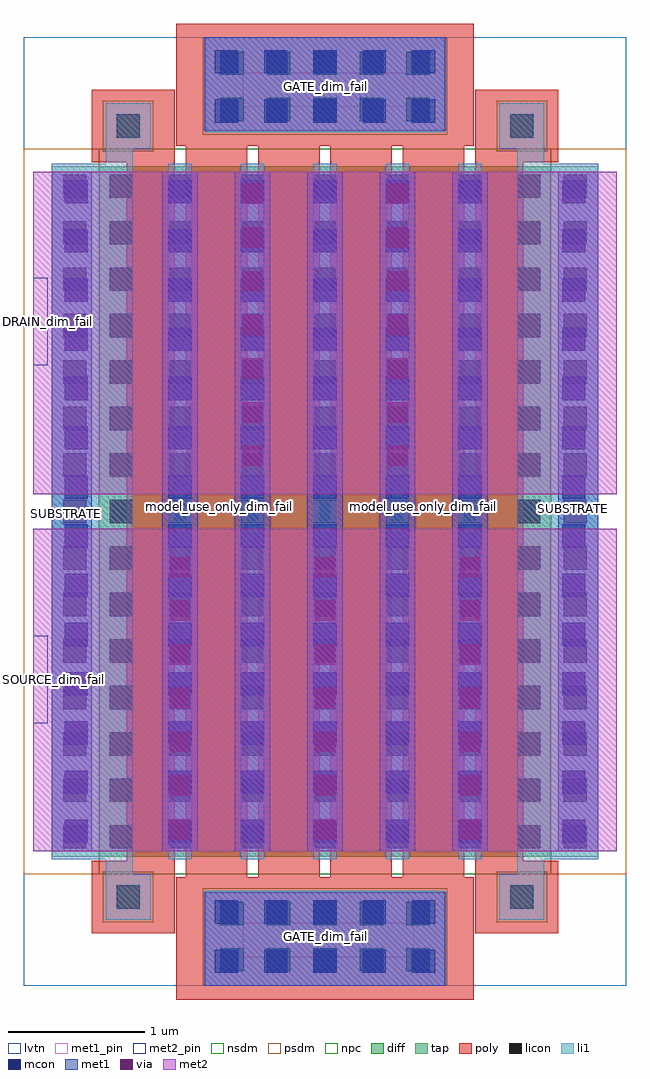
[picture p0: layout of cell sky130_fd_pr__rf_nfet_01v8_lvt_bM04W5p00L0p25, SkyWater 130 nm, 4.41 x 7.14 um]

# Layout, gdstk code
import gdstk
lib = gdstk.Library(unit=1e-6, precision=1e-09)
def R(c, l, rs):  # rectangles x0, y0, x1, y1
    for r in rs: c.add(gdstk.rectangle(r[:2], r[2:], *l))
def A(c, l, x, y, w, h, nx, ny, dx, dy):  # array of equal rectangles
    R(c, l, [(x+i*dx, y+j*dy, x+i*dx+w, y+j*dy+h) for i in range(nx) for j in range(ny)])
def P(c, l, *ps):  # polygons
    for p in ps: c.add(gdstk.Polygon(p, *l))
diff = (65, 20)
tap = (65, 44)
poly = (66, 20)
licon = (66, 44)
li1 = (67, 20)
mcon = (67, 44)
met1_pin = (68, 16)
met1 = (68, 20)
via = (68, 44)
met2_pin = (69, 16)
met2 = (69, 20)
nsdm = (93, 44)
psdm = (94, 20)
npc = (95, 20)
lvtn = (125, 44)

sky130_fd_pr__rf_nfet_01 = lib.new_cell('sky130_fd_pr__rf_nfet_01v8_lvt_bM04W5p00L0p25')
R(sky130_fd_pr__rf_nfet_01, diff, [(0.555,0.945,3.855,5.995)])
R(sky130_fd_pr__rf_nfet_01, tap, [(0.205,0.945,0.555,5.995), (3.855,0.945,4.205,5.995)])
P(sky130_fd_pr__rf_nfet_01, poly, [(0.5,0.385),(0.5,0.915),(0.755,0.915),(0.755,6.025),(0.5,6.025),(0.5,6.555),(1.105,6.555),(1.105,0.385)],
  [(3.305,0.385),(3.305,6.555),(3.91,6.555),(3.91,6.025),(3.655,6.025),(3.655,0.915),(3.91,0.915),(3.91,0.385)],
  [(1.115,-0.1),(1.115,0.795),(1.185,0.795),(1.185,6.145),(1.635,6.145),(1.635,0.795),(1.715,0.795),(1.715,6.145),(2.165,6.145),(2.165,0.795),(2.245,0.795),(2.245,6.145),(2.695,6.145),(2.695,0.795),(2.775,0.795),(2.775,6.145),(1.115,6.145),(1.115,7.04),(3.295,7.04),(3.295,6.145),(3.225,6.145),(3.225,0.795),(3.295,0.795),(3.295,-0.1)])
A(sky130_fd_pr__rf_nfet_01, licon, 1.44, 0.105, 0.17, 0.17, 5, 2, 0.34, 0.34)
A(sky130_fd_pr__rf_nfet_01, licon, 0.29, 1.005, 0.17, 0.17, 1, 15, 0, 0.34)
A(sky130_fd_pr__rf_nfet_01, licon, 0.63, 1.005, 0.17, 0.17, 1, 15, 0, 0.34)
A(sky130_fd_pr__rf_nfet_01, licon, 1.06, 1.005, 0.17, 0.17, 5, 15, 0.53, 0.34)
A(sky130_fd_pr__rf_nfet_01, licon, 3.61, 1.005, 0.17, 0.17, 1, 15, 0, 0.34)
A(sky130_fd_pr__rf_nfet_01, licon, 3.95, 1.005, 0.17, 0.17, 1, 15, 0, 0.34)
A(sky130_fd_pr__rf_nfet_01, licon, 1.44, 6.325, 0.17, 0.17, 5, 2, 0.34, 0.34)
R(sky130_fd_pr__rf_nfet_01, licon, [(0.68,0.565,0.85,0.735), (3.56,0.565,3.73,0.735), (0.68,6.205,0.85,6.375), (3.56,6.205,3.73,6.375)])
A(sky130_fd_pr__rf_nfet_01, li1, 1.06, 0.925, 0.17, 5.09, 5, 1, 0.53, 0)
A(sky130_fd_pr__rf_nfet_01, li1, 1.06, 2.125, 0.17, 2.69, 5, 1, 0.53, 0)
R(sky130_fd_pr__rf_nfet_01, li1, [(1.33,0,3.08,0.695), (0.6,0.485,0.93,0.815), (3.48,0.485,3.81,0.815), (0.6,0.815,0.8,0.925), (3.61,0.815,3.81,0.925), (0.205,0.925,0.8,6.015), (3.61,0.925,4.205,6.015), (0.32,1.045,0.49,5.895), (3.92,1.045,4.09,5.895), (0.6,6.015,0.8,6.125), (3.61,6.015,3.81,6.125), (0.6,6.125,0.93,6.455), (3.48,6.125,3.81,6.455), (1.33,6.245,3.08,6.94)])
A(sky130_fd_pr__rf_nfet_01, mcon, 1.4, 0.095, 0.17, 0.17, 5, 2, 0.36, 0.36)
A(sky130_fd_pr__rf_nfet_01, mcon, 0.3, 1.045, 0.17, 0.17, 1, 14, 0, 0.36)
A(sky130_fd_pr__rf_nfet_01, mcon, 1.06, 1.045, 0.17, 0.17, 5, 14, 0.53, 0.36)
A(sky130_fd_pr__rf_nfet_01, mcon, 3.94, 1.045, 0.17, 0.17, 1, 14, 0, 0.36)
A(sky130_fd_pr__rf_nfet_01, mcon, 1.4, 6.315, 0.17, 0.17, 5, 2, 0.36, 0.36)
R(sky130_fd_pr__rf_nfet_01, met1_pin, [(1.605,0.21,2.855,0.46), (0.205,3.375,0.5,3.525), (3.91,3.415,4.205,3.565), (1.605,6.43,2.855,6.68)])
A(sky130_fd_pr__rf_nfet_01, met1, 1.015, 0.985, 0.26, 2.24, 3, 1, 1.06, 0)
A(sky130_fd_pr__rf_nfet_01, met1, 1.015, 0.985, 0.26, 4.97, 5, 1, 0.53, 0)
R(sky130_fd_pr__rf_nfet_01, met1, [(1.32,0,3.09,0.685), (0.205,0.985,0.5,5.955), (3.91,0.985,4.205,5.955), (1.545,3.715,1.805,5.955), (2.605,3.715,2.865,5.955), (1.32,6.255,3.09,6.94)])
A(sky130_fd_pr__rf_nfet_01, via, 1.07, 1.07, 0.15, 0.15, 3, 7, 1.06, 0.32)
A(sky130_fd_pr__rf_nfet_01, via, 1.6, 3.8, 0.15, 0.15, 1, 7, 0, 0.32)
A(sky130_fd_pr__rf_nfet_01, via, 2.66, 3.8, 0.15, 0.15, 1, 7, 0, 0.32)
R(sky130_fd_pr__rf_nfet_01, met2_pin, [(0.07,1.92,0.175,2.56), (0.07,4.54,0.175,5.18)])
A(sky130_fd_pr__rf_nfet_01, met2, 1.015, 0.985, 0.26, 2.24, 3, 1, 1.06, 0)
R(sky130_fd_pr__rf_nfet_01, met2, [(0.07,0.985,4.34,3.345), (0.07,3.595,4.34,5.955), (1.545,3.715,1.805,5.955), (2.605,3.715,2.865,5.955)])
R(sky130_fd_pr__rf_nfet_01, nsdm, [(0.555,0.815,3.855,6.125)])
R(sky130_fd_pr__rf_nfet_01, psdm, [(0,0.815,0.555,6.125), (3.855,0.815,4.41,6.125)])
R(sky130_fd_pr__rf_nfet_01, npc, [(1.31,0,3.1,0.715), (0.58,0.465,0.95,0.835), (3.46,0.465,3.83,0.835), (0.58,6.105,0.95,6.475), (3.46,6.105,3.83,6.475), (1.31,6.225,3.1,6.94)])
R(sky130_fd_pr__rf_nfet_01, lvtn, [(0,0,4.41,6.94)])
sky130_fd_pr__rf_nfet_01.add(gdstk.Label('GATE_dim_fail', (2.205,0.36), layer=68, texttype=5))
sky130_fd_pr__rf_nfet_01.add(gdstk.Label('GATE_dim_fail', (2.205,6.58), layer=68, texttype=5))
sky130_fd_pr__rf_nfet_01.add(gdstk.Label('model_use_only_dim_fail', (1.435,3.505), layer=66, texttype=83))
sky130_fd_pr__rf_nfet_01.add(gdstk.Label('model_use_only_dim_fail', (1.965,3.505), layer=66, texttype=83))
sky130_fd_pr__rf_nfet_01.add(gdstk.Label('model_use_only_dim_fail', (2.395,3.505), layer=66, texttype=83))
sky130_fd_pr__rf_nfet_01.add(gdstk.Label('model_use_only_dim_fail', (2.925,3.505), layer=66, texttype=83))
sky130_fd_pr__rf_nfet_01.add(gdstk.Label('model_use_only_dim_fail', (3.47,3.47), layer=66, texttype=83))
sky130_fd_pr__rf_nfet_01.add(gdstk.Label('model_use_only_dim_fail', (0.915,3.47), layer=66, texttype=83))
sky130_fd_pr__rf_nfet_01.add(gdstk.Label('SUBSTRATE', (0.315,3.455), layer=68, texttype=16))
sky130_fd_pr__rf_nfet_01.add(gdstk.Label('SUBSTRATE', (4.02,3.495), layer=68, texttype=16))
sky130_fd_pr__rf_nfet_01.add(gdstk.Label('dummy_poly_dim_fail', (3.47,3.505), layer=83, texttype=44))
sky130_fd_pr__rf_nfet_01.add(gdstk.Label('dummy_poly_dim_fail', (0.92,3.505), layer=83, texttype=44))
sky130_fd_pr__rf_nfet_01.add(gdstk.Label('D_dim_fail', (1.775,3.47), layer=83, texttype=44))
sky130_fd_pr__rf_nfet_01.add(gdstk.Label('S_dim_fail', (1.345,3.47), layer=83, texttype=44))
sky130_fd_pr__rf_nfet_01.add(gdstk.Label('S_dim_fail', (2.635,3.47), layer=83, texttype=44))
sky130_fd_pr__rf_nfet_01.add(gdstk.Label('S_dim_fail', (2.205,3.47), layer=83, texttype=44))
sky130_fd_pr__rf_nfet_01.add(gdstk.Label('S_dim_fail', (1.775,3.47), layer=83, texttype=44))
sky130_fd_pr__rf_nfet_01.add(gdstk.Label('S_dim_fail', (1.345,3.47), layer=83, texttype=44))
sky130_fd_pr__rf_nfet_01.add(gdstk.Label('S_dim_fail', (3.065,3.47), layer=83, texttype=44))
sky130_fd_pr__rf_nfet_01.add(gdstk.Label('D_dim_fail', (2.635,3.47), layer=83, texttype=44))
sky130_fd_pr__rf_nfet_01.add(gdstk.Label('S_dim_fail', (2.205,3.47), layer=83, texttype=44))
sky130_fd_pr__rf_nfet_01.add(gdstk.Label('SOURCE_dim_fail', (0.175,2.24), layer=69, texttype=5))
sky130_fd_pr__rf_nfet_01.add(gdstk.Label('DRAIN_dim_fail', (0.175,4.86), layer=69, texttype=5))

lib.write_gds('sky130_fd_pr__rf_nfet_01v8_lvt_bM04W5p00L0p25.gds')
